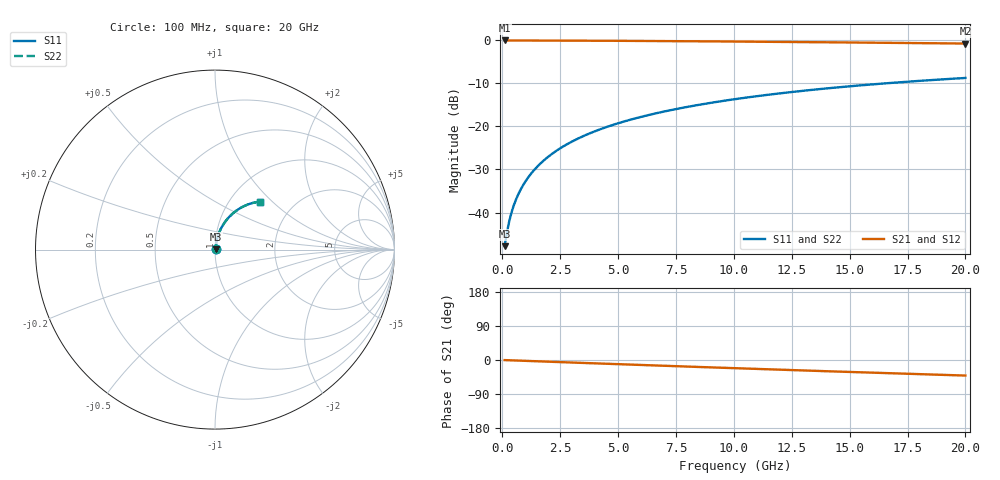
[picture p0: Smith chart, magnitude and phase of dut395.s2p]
! Touchstone file exported from HFSS 2026.1.0
!  File:  C:/ffzhzh/LocalFiles/Ansys_Project_Files/temp_train_BSMRDL_395_1783012224_55676.aedt
!  Generated:  01:11:45 AM Jul  3, 2026
!  Design:  BSMRDL
!  Project:  temp_train_BSMRDL_395_1783012224_55676
! Variables:
!  h_bsmrdl = 4.49um
!  h_ox = 20um
!  h_rdl = 5um
!  h_sub = 80um
!  h_tmrdl = 5um
!  h_tsv = 80um
!  h_via = 3um
!  l_bsmrdl = 620.91um
!  l_sub = 1020.91um
!  l_tmrdl = 200um
!  m_sub = 200um
!  pitch = 36.73um
!  r_tsv = 6um
!  s_tmrdl = 10um
!  w_bsmrdl = 15.51um
!  w_sub = 500um
!  w_tmrdl = 12um
!  x_tsv_center1 = 206um
!  x_tsv_center2 = 842.42um
!  x_tsv_center3 = 1054.42um
!  x_tsv_center4 = 1690.84um
!  x_tsv_center5 = 1902.84um
!  x_tsv_center6 = 2539.26um
# GHz S MA R 50.000000
! Terminal data exported
! Port[1] = BSM_RDL1_1_T1
! Port[2] = BSM_RDL1_1_T2
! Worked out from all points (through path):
!   200 points, 100 MHz to 20 GHz, reference 50 ohm
!   highest |S21| = -0.03 dB at 100 MHz (marker M1); lowest = -0.7 dB at 20 GHz (marker M2)
!   group delay of S21, straight-line fit = 5.7 ps
!   lowest |S11| = -47.8 dB at 100 MHz (marker M3), VSWR 1.01, Z = 50.3 + j0.243 ohm
!   |S11| at or under -10 dB: start of sweep to 16.53 GHz
!   |S22| runs from -47.8 to -8.7 dB; largest |S21 - S12| = 3.2e-15
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0.1  0.004064 36.4  0.9967 -0.2  0.9967 -0.2  0.004064 36.4
! Gamma 0 0 0 0
! Port Impedance 50 0 50 0
0.2  0.005864 54.4  0.9966 -0.5  0.9966 -0.5  0.005864 54.4
0.3  0.007923 63.0  0.9965 -0.7  0.9965 -0.7  0.007924 63.0
0.4  0.01004 67.8  0.9963 -0.9  0.9963 -0.9  0.01004 67.8
0.5  0.01218 70.9  0.9962 -1.1  0.9962 -1.1  0.01218 70.9
0.6  0.01432 73.1  0.9961 -1.4  0.9961 -1.4  0.01432 73.1
0.8  0.01863 75.9  0.9959 -1.8  0.9959 -1.8  0.01864 75.8
1.1  0.02515 78.0  0.9956 -2.5  0.9956 -2.5  0.02515 78.0
1.3  0.02951 78.8  0.9954 -2.9  0.9954 -2.9  0.02951 78.8
1.6  0.03607 79.4  0.9951 -3.6  0.9951 -3.6  0.03607 79.4
2.1  0.04699 79.6  0.9943 -4.7  0.9943 -4.7  0.04699 79.6
2.7  0.06002 79.2  0.9932 -6.0  0.9932 -6.0  0.06003 79.2
3.5  0.07723 78.1  0.9914 -7.8  0.9914 -7.8  0.07723 78.1
4.2  0.09207 76.9  0.9896 -9.3  0.9896 -9.3  0.09207 76.9
5  0.1088 75.4  0.9873 -11.0  0.9873 -11.0  0.1088 75.4
5.9  0.1272 73.7  0.9844 -13.0  0.9844 -13.0  0.1272 73.7
6.8  0.1453 71.9  0.9812 -14.9  0.9812 -14.9  0.1453 71.9
8.3  0.1745 69.0  0.9755 -18.0  0.9755 -18.0  0.1745 69.0
10.1  0.2083 65.5  0.9679 -21.7  0.9679 -21.7  0.2083 65.5
13.4  0.2663 59.2  0.9524 -28.4  0.9524 -28.4  0.2663 59.1
16.7  0.3189 53.0  0.9354 -34.8  0.9354 -34.8  0.3189 52.9
20  0.3655 47.0  0.9178 -41.1  0.9178 -41.1  0.3655 46.9
